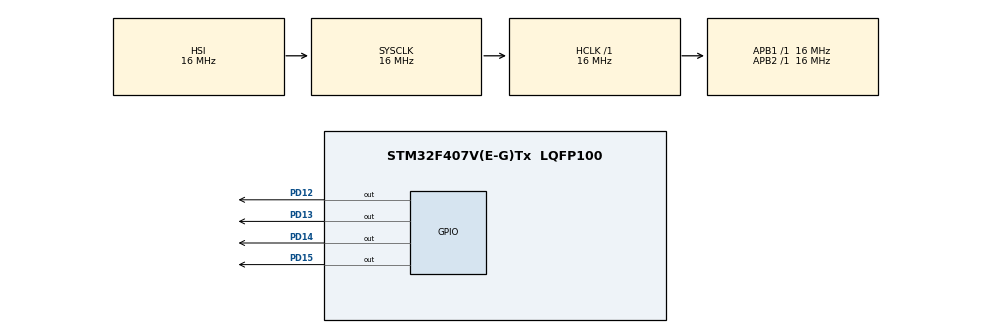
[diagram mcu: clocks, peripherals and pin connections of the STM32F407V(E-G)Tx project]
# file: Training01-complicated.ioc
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Mcu.Family=STM32F4
Mcu.Name=STM32F407V(E-G)Tx
Mcu.Package=LQFP100
NVIC.PriorityGroup=NVIC_PRIORITYGROUP_4
PD12.Signal=GPIO_Output
PD13.Signal=GPIO_Output
PD14.Signal=GPIO_Output
PD15.Signal=GPIO_Output
ProjectManager.HeapSize=0x200
ProjectManager.StackSize=0x400
ProjectManager.TargetToolchain=STM32CubeIDE
RCC.AHBFreq_Value=16000000
RCC.APB1Freq_Value=16000000
RCC.APB2Freq_Value=16000000
RCC.CortexFreq_Value=16000000
RCC.HSE_VALUE=25000000
RCC.HSI_VALUE=16000000
RCC.LSE_VALUE=32768
RCC.SYSCLKFreq_VALUE=16000000
RCC.VCOOutputFreq_Value=192000000
board=custom

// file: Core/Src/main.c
/* USER CODE BEGIN Header */
/**
  ******************************************************************************
  * @file           : main.c
  * @brief          : Main program body
  ******************************************************************************
  * @attention
  *
  * Copyright (c) 2023 STMicroelectronics.
  * All rights reserved.
  *
  * This software is licensed under terms that can be found in the LICENSE file
  * in the root directory of this software component.
  * If no LICENSE file comes with this software, it is provided AS-IS.
  *
  ******************************************************************************
  */
/* USER CODE END Header */

#include "main.h"
#include "led.h"

/* USER CODE BEGIN PD */
#define LEDQUANTITY 4
/* USER CODE END PD */

/* USER CODE BEGIN PV */
const uint32_t LED_QUANTITY=LEDQUANTITY;
LED leds[LEDQUANTITY];
volatile uint32_t tempcnt=0;
volatile uint32_t counter=0;
/* USER CODE END PV */

void SystemClock_Config(void);
static void MX_GPIO_Init(void);

int main(void)
{

  /* MCU Configuration--------------------------------------------------------*/

  /* Reset of all peripherals, Initializes the Flash interface and the Systick. */
  HAL_Init();

  /* Configure the system clock */
  SystemClock_Config();

  /* Initialize all configured peripherals */
  MX_GPIO_Init();

  /* Infinite loop */
  /* USER CODE BEGIN WHILE */

  leds[0].port=GPIOD;
  leds[0].pin=GPIO_PIN_12;
  leds[0].color="green";
  leds[0].startpoint=200;
  leds[0].DutyCycle=1000;
  leds[0].period=2000;
  leds[0].pLedHandle=LedHandle;

  leds[1].port=GPIOD;
  leds[1].pin=GPIO_PIN_13;
  leds[1].color="orange";
  leds[1].startpoint=400;
  leds[1].DutyCycle=1000;
  leds[1].period=2000;
  leds[1].pLedHandle=LedHandle;

  leds[2].port=GPIOD;
  leds[2].pin=GPIO_PIN_14;
  leds[2].color="red";
  leds[2].startpoint=600;
  leds[2].DutyCycle=1000;
  leds[2].period=2000;
  leds[2].pLedHandle=LedHandle;

  leds[3].port=GPIOD;
  leds[3].pin=GPIO_PIN_15;
  leds[3].color="blue";
  leds[3].startpoint=800;
  leds[3].DutyCycle=1000;
  leds[3].period=2000;
  leds[3].pLedHandle=LedHandle;

  while (1)
  {
    while(tempcnt==counter){}
    for (uint32_t n=0; n<LED_QUANTITY; n++)
      {
        if (tempcnt>=leds[n].startpoint)
          {
	        if (((tempcnt+leds[n].period-leds[n].startpoint)%leds[n].period==0)||  \
		         (((tempcnt+leds[n].period-leds[n].startpoint-leds[n].DutyCycle)%leds[n].period)==0))
               {
	             leds[n].pLedHandle(leds[n].port,leds[n].pin);
               }
          }
      }
	  tempcnt=counter;
    /* USER CODE END WHILE */

  }

}

void SystemClock_Config(void)
{
  RCC_OscInitTypeDef RCC_OscInitStruct = {0};
  RCC_ClkInitTypeDef RCC_ClkInitStruct = {0};

  /** Configure the main internal regulator output voltage
  */
  __HAL_RCC_PWR_CLK_ENABLE();
  __HAL_PWR_VOLTAGESCALING_CONFIG(PWR_REGULATOR_VOLTAGE_SCALE1);

  /** Initializes the RCC Oscillators according to the specified parameters
  * in the RCC_OscInitTypeDef structure.
  */
  RCC_OscInitStruct.OscillatorType = RCC_OSCILLATORTYPE_HSI;
  RCC_OscInitStruct.HSIState = RCC_HSI_ON;
  RCC_OscInitStruct.HSICalibrationValue = RCC_HSICALIBRATION_DEFAULT;
  RCC_OscInitStruct.PLL.PLLState = RCC_PLL_NONE;
  if (HAL_RCC_OscConfig(&RCC_OscInitStruct) != HAL_OK)
  {
    Error_Handler();
  }

  /** Initializes the CPU, AHB and APB buses clocks
  */
  RCC_ClkInitStruct.ClockType = RCC_CLOCKTYPE_HCLK|RCC_CLOCKTYPE_SYSCLK
                              |RCC_CLOCKTYPE_PCLK1|RCC_CLOCKTYPE_PCLK2;
  RCC_ClkInitStruct.SYSCLKSource = RCC_SYSCLKSOURCE_HSI;
  RCC_ClkInitStruct.AHBCLKDivider = RCC_SYSCLK_DIV1;
  RCC_ClkInitStruct.APB1CLKDivider = RCC_HCLK_DIV1;
  RCC_ClkInitStruct.APB2CLKDivider = RCC_HCLK_DIV1;

  if (HAL_RCC_ClockConfig(&RCC_ClkInitStruct, FLASH_LATENCY_0) != HAL_OK)
  {
    Error_Handler();
  }
}

static void MX_GPIO_Init(void)
{
  GPIO_InitTypeDef GPIO_InitStruct = {0};

  /* GPIO Ports Clock Enable */
  __HAL_RCC_GPIOD_CLK_ENABLE();

  /*Configure GPIO pin Output Level */
  HAL_GPIO_WritePin(GPIOD, GPIO_PIN_12|GPIO_PIN_13|GPIO_PIN_14|GPIO_PIN_15, GPIO_PIN_RESET);

  /*Configure GPIO pins : PD12 PD13 PD14 PD15 */
  GPIO_InitStruct.Pin = GPIO_PIN_12|GPIO_PIN_13|GPIO_PIN_14|GPIO_PIN_15;
  GPIO_InitStruct.Mode = GPIO_MODE_OUTPUT_PP;
  GPIO_InitStruct.Pull = GPIO_NOPULL;
  GPIO_InitStruct.Speed = GPIO_SPEED_FREQ_LOW;
  HAL_GPIO_Init(GPIOD, &GPIO_InitStruct);

}

void Error_Handler(void)
{
  __disable_irq();
  while (1)
  {
  }
}
